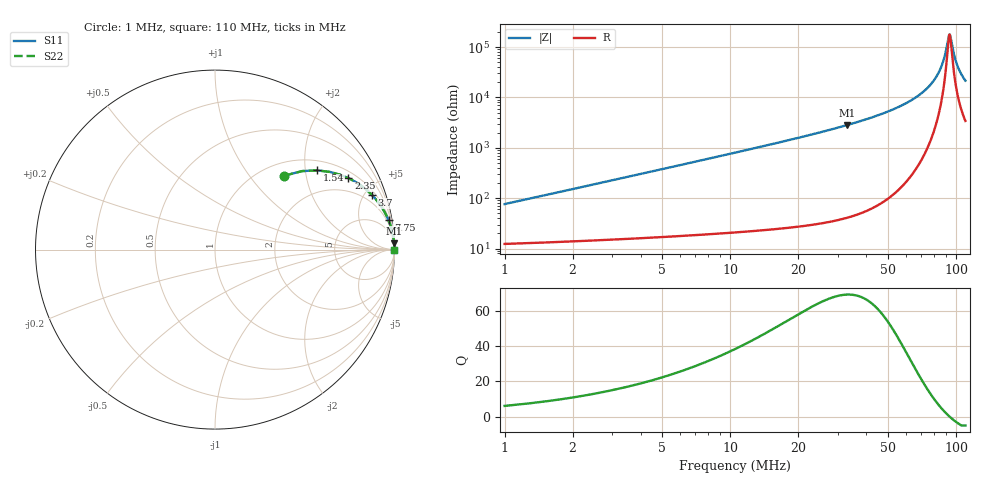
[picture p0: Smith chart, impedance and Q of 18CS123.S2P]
! Coilcraft 1812CS-123 Chip Inductor
! 31 July 2002
# MHZ S MA R 50
!Freq  MagS11  AngS11  MagS21  AngS21  MagS12  AngS12  MagS22  AngS22
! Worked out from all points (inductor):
!   405 points, 1 MHz to 110 MHz, reference 50 ohm
!   read as one part in series: L = 12 uH near 1.54 MHz
!   highest Q = 69.4 at 32.86 MHz (marker M1), where L = 13.7 uH
!   self-resonance near 93.61 MHz
!   S11 on the Smith chart (normalised r, x): 1 MHz: 1.25, +1.51; 1.54 MHz: 1.26, +2.32; 2.35 MHz: 1.29, +3.55; 3.7 MHz: 1.31, +5.59; 7.75 MHz: 1, +12; 110 MHz: open
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1  0.5647 46.8  0.739 -33.9  0.739 -33.9  0.5647 46.8
1.54  0.7207 37.8  0.6165 -45.7  0.6165 -45.7  0.7207 37.8
2.35  0.8432 28.2  0.474 -57.2  0.474 -57.2  0.8432 28.2
3.7  0.9253 19.3  0.3307 -67.5  0.3307 -67.5  0.9253 19.3
5.32  0.961 13.8  0.2386 -73.8  0.2386 -73.8  0.961 13.8
7.75  0.9807 9.6  0.1666 -78.6  0.1666 -78.6  0.9807 9.6
12.61  0.9924 5.9  0.1025 -82.8  0.1025 -82.8  0.9924 5.9
19.36  0.9967 3.7  0.06535 -85.2  0.06535 -85.2  0.9967 3.7
32.86  0.9989 2.0  0.03534 -87.1  0.03534 -87.1  0.9989 2.0
37.45  0.9991 1.7  0.02972 -87.5  0.02972 -87.5  0.9991 1.7
55.54  0.9995 0.9  0.01547 -87.8  0.01547 -87.8  0.9995 0.9
73.9  0.9996 0.4  0.006774 -86.1  0.006774 -86.1  0.9996 0.4
80.38  0.9995 0.2  0.00436 -83.8  0.00436 -83.8  0.9995 0.2
85.24  0.9995 0.2  0.002707 -79.5  0.002707 -79.5  0.9995 0.2
89.02  0.9995 0.1  0.001523 -70.0  0.001523 -70.0  0.9995 0.1
91.99  0.9995 0.0  0.0007423 -42.7  0.0007423 -42.7  0.9995 0.0
93.07  0.9994 0.0  0.0005817 -17.3  0.0005817 -17.3  0.9994 0.0
93.88  0.9994 -0.0  0.0005673 7.2  0.0005673 7.2  0.9994 -0.0
97.93  0.9994 -0.1  0.001402 64.5  0.001402 64.5  0.9994 -0.1
100.63  0.9994 -0.1  0.002131 72.7  0.002131 72.7  0.9994 -0.1
104.95  0.9993 -0.2  0.003298 78.0  0.003298 78.0  0.9993 -0.2
110  0.9993 -0.3  0.004627 80.6  0.004627 80.6  0.9993 -0.3
